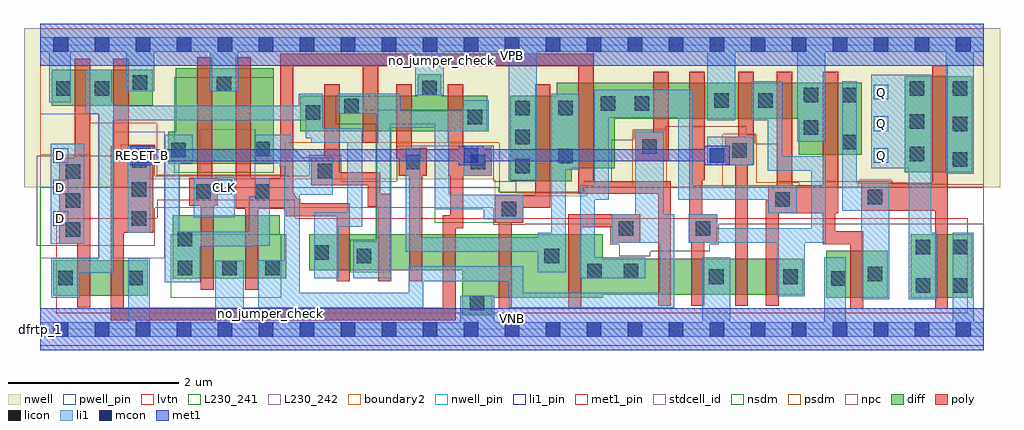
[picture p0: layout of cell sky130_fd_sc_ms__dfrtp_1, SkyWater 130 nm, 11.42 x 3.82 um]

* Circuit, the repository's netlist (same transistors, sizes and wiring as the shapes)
* Copyright 2020 The SkyWater PDK Authors
*
* Licensed under the Apache License, Version 2.0 (the "License");
* you may not use this file except in compliance with the License.
* You may obtain a copy of the License at
*
*     https://www.apache.org/licenses/LICENSE-2.0
*
* Unless required by applicable law or agreed to in writing, software
* distributed under the License is distributed on an "AS IS" BASIS,
* WITHOUT WARRANTIES OR CONDITIONS OF ANY KIND, either express or implied.
* See the License for the specific language governing permissions and
* limitations under the License.
*
* SPDX-License-Identifier: Apache-2.0

.SUBCKT sky130_fd_sc_ms__dfrtp_1 CLK D RESET_B VGND VNB VPB VPWR Q
*.PININFO CLK:I D:I RESET_B:I VGND:I VNB:I VPB:I VPWR:I Q:O
MI46 clkpos clkneg VGND VNB sky130_fd_pr__nfet_01v8_lvt m=1 w=0.74U l=0.15U mult=1
+ sa=0.265 sb=0.265 sd=0.28 area=0.063 perim=1.14
MI42 db clkneg M0 VNB sky130_fd_pr__nfet_01v8_lvt m=1 w=0.42U l=0.15U mult=1 sa=0.265
+ sb=0.265 sd=0.28 area=0.063 perim=1.14
MI656 net108 s0 net74 VNB sky130_fd_pr__nfet_01v8_lvt m=1 w=0.42U l=0.15U mult=1
+ sa=0.265 sb=0.265 sd=0.28 area=0.063 perim=1.14
MI657 net74 RESET_B VGND VNB sky130_fd_pr__nfet_01v8_lvt m=1 w=0.42U l=0.15U mult=1
+ sa=0.265 sb=0.265 sd=0.28 area=0.063 perim=1.14
MI33 net83 RESET_B VGND VNB sky130_fd_pr__nfet_01v8_lvt m=1 w=0.42U l=0.15U mult=1
+ sa=0.265 sb=0.265 sd=0.28 area=0.063 perim=1.14
MI4 M0 clkpos net91 VNB sky130_fd_pr__nfet_01v8_lvt m=1 w=0.42U l=0.15U mult=1
+ sa=0.265 sb=0.265 sd=0.28 area=0.063 perim=1.14
MI34 net91 M1 net83 VNB sky130_fd_pr__nfet_01v8_lvt m=1 w=0.42U l=0.15U mult=1
+ sa=0.265 sb=0.265 sd=0.28 area=0.063 perim=1.14
MI655 s0 clkneg net107 VNB sky130_fd_pr__nfet_01v8_lvt m=1 w=0.42U l=0.15U mult=1
+ sa=0.265 sb=0.265 sd=0.28 area=0.063 perim=1.14
MI652 net167 s0 VGND VNB sky130_fd_pr__nfet_01v8_lvt m=1 w=0.55U l=0.15U mult=1
+ sa=0.265 sb=0.265 sd=0.28 area=0.063 perim=1.14
MI653 Q net167 VGND VNB sky130_fd_pr__nfet_01v8_lvt m=1 w=0.74U l=0.15U mult=1
+ sa=0.265 sb=0.265 sd=0.28 area=0.063 perim=1.14
MI654 net107 net108 VGND VNB sky130_fd_pr__nfet_01v8_lvt m=1 w=0.42U l=0.15U mult=1
+ sa=0.265 sb=0.265 sd=0.28 area=0.063 perim=1.14
MI44 clkneg CLK VGND VNB sky130_fd_pr__nfet_01v8_lvt m=1 w=0.74U l=0.15U mult=1
+ sa=0.265 sb=0.265 sd=0.28 area=0.063 perim=1.14
MI647 M1 M0 VGND VNB sky130_fd_pr__nfet_01v8_lvt m=1 w=0.74U l=0.15U mult=1 sa=0.265
+ sb=0.265 sd=0.28 area=0.063 perim=1.14
MI39 db D net123 VNB sky130_fd_pr__nfet_01v8_lvt m=1 w=0.42U l=0.15U mult=1 sa=0.265
+ sb=0.265 sd=0.28 area=0.063 perim=1.14
MI38 net123 RESET_B VGND VNB sky130_fd_pr__nfet_01v8_lvt m=1 w=0.42U l=0.15U mult=1
+ sa=0.265 sb=0.265 sd=0.28 area=0.063 perim=1.14
MI649 M1 clkpos s0 VNB sky130_fd_pr__nfet_01v8_lvt m=1 w=0.74U l=0.15U mult=1 sa=0.265
+ sb=0.265 sd=0.28 area=0.063 perim=1.14
MI47 clkpos clkneg VPWR VPB sky130_fd_pr__pfet_01v8 m=1 w=1.12U l=0.18U mult=1
+ sa=0.265 sb=0.265 sd=0.28 area=0.063 perim=1.14
MI43 db clkpos M0 VPB sky130_fd_pr__pfet_01v8 m=1 w=0.42U l=0.18U mult=1 sa=0.265
+ sb=0.265 sd=0.28 area=0.063 perim=1.14
MI662 net146 net108 VPWR VPB sky130_fd_pr__pfet_01v8 m=1 w=0.42U l=0.18U mult=1
+ sa=0.265 sb=0.265 sd=0.28 area=0.063 perim=1.14
MI659 net108 RESET_B VPWR VPB sky130_fd_pr__pfet_01v8 m=1 w=0.42U l=0.18U mult=1
+ sa=0.265 sb=0.265 sd=0.28 area=0.063 perim=1.14
MI664 s0 clkpos net146 VPB sky130_fd_pr__pfet_01v8 m=1 w=0.42U l=0.18U mult=1 sa=0.265
+ sb=0.265 sd=0.28 area=0.063 perim=1.14
MI658 net108 s0 VPWR VPB sky130_fd_pr__pfet_01v8 m=1 w=0.42U l=0.18U mult=1 sa=0.265
+ sb=0.265 sd=0.28 area=0.063 perim=1.14
MI30 net158 M1 VPWR VPB sky130_fd_pr__pfet_01v8 m=1 w=0.42U l=0.18U mult=1 sa=0.265
+ sb=0.265 sd=0.28 area=0.063 perim=1.14
MI31 M0 clkneg net158 VPB sky130_fd_pr__pfet_01v8 m=1 w=0.42U l=0.18U mult=1 sa=0.265
+ sb=0.265 sd=0.28 area=0.063 perim=1.14
MI32 M0 RESET_B VPWR VPB sky130_fd_pr__pfet_01v8 m=1 w=0.42U l=0.18U mult=1 sa=0.265
+ sb=0.265 sd=0.28 area=0.063 perim=1.14
MI663 net167 s0 VPWR VPB sky130_fd_pr__pfet_01v8 m=1 w=0.84U l=0.18U mult=1 sa=0.265
+ sb=0.265 sd=0.28 area=0.063 perim=1.14
MI660 Q net167 VPWR VPB sky130_fd_pr__pfet_01v8 m=1 w=1.12U l=0.18U mult=1 sa=0.265
+ sb=0.265 sd=0.28 area=0.063 perim=1.14
MI45 clkneg CLK VPWR VPB sky130_fd_pr__pfet_01v8 m=1 w=1.12U l=0.18U mult=1 sa=0.265
+ sb=0.265 sd=0.28 area=0.063 perim=1.14
MI648 M1 M0 VPWR VPB sky130_fd_pr__pfet_01v8 m=1 w=1.0U l=0.18U mult=1 sa=0.265
+ sb=0.265 sd=0.28 area=0.063 perim=1.14
MI41 db RESET_B VPWR VPB sky130_fd_pr__pfet_01v8 m=1 w=0.42U l=0.18U mult=1 sa=0.265
+ sb=0.265 sd=0.28 area=0.063 perim=1.14
MI40 db D VPWR VPB sky130_fd_pr__pfet_01v8 m=1 w=0.42U l=0.18U mult=1 sa=0.265
+ sb=0.265 sd=0.28 area=0.063 perim=1.14
MI650 M1 clkneg s0 VPB sky130_fd_pr__pfet_01v8 m=1 w=1.0U l=0.18U mult=1 sa=0.265
+ sb=0.265 sd=0.28 area=0.063 perim=1.14
.ENDS sky130_fd_sc_ms__dfrtp_1

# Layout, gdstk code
import gdstk
lib = gdstk.Library(unit=1e-6, precision=1e-09)
def R(c, l, rs):  # rectangles x0, y0, x1, y1
    for r in rs: c.add(gdstk.rectangle(r[:2], r[2:], *l))
def A(c, l, x, y, w, h, nx, ny, dx, dy):  # array of equal rectangles
    R(c, l, [(x+i*dx, y+j*dy, x+i*dx+w, y+j*dy+h) for i in range(nx) for j in range(ny)])
def P(c, l, *ps):  # polygons
    for p in ps: c.add(gdstk.Polygon(p, *l))
nwell_pin = (64, 16)
nwell = (64, 20)
diff = (65, 20)
poly = (66, 20)
licon = (66, 44)
li1_pin = (67, 16)
li1 = (67, 20)
mcon = (67, 44)
met1_pin = (68, 16)
met1 = (68, 20)
stdcell_id = (81, 4)
nsdm = (93, 44)
psdm = (94, 20)
npc = (95, 20)
pwell_pin = (122, 16)
lvtn = (125, 44)
L230_241 = (230, 241)
L230_242 = (230, 242)
boundary2 = (236, 0)

sky130_fd_sc_ms__dfrtp_1 = lib.new_cell('sky130_fd_sc_ms__dfrtp_1')
R(sky130_fd_sc_ms__dfrtp_1, nwell_pin, [(0,3.085,11.04,3.33)])
P(sky130_fd_sc_ms__dfrtp_1, nwell, [(11.23,3.52),(-0.19,3.52),(-0.19,1.66),(1.15,1.66),(1.15,1.755),(5.32,1.755),(5.32,1.555),(6.4,1.555),(6.4,1.66),(11.23,1.66)])
R(sky130_fd_sc_ms__dfrtp_1, diff, [(9.195,0.37,9.915,0.92), (10.185,0.37,10.905,1.11), (0.15,0.39,1.26,0.81), (10.115,1.84,10.905,2.96), (0.135,2.615,1.315,3.035)])
P(sky130_fd_sc_ms__dfrtp_1, diff, [(5.23,2.735),(4.695,2.735),(4.695,2.985),(4.42,2.985),(4.42,2.735),(3.045,2.735),(3.045,2.315),(5.23,2.315)],
  [(2.88,1.11),(2.8,1.11),(2.8,1.335),(1.55,1.335),(1.55,0.59),(1.805,0.59),(1.805,0.595),(2.105,0.595),(2.105,0.59),(2.325,0.59),(2.325,0.595),(2.88,0.595)],
  [(8.925,0.825),(6.58,0.825),(6.58,1.11),(3.15,1.11),(3.15,0.69),(4.935,0.69),(4.935,0.165),(5.29,0.165),(5.29,0.37),(6.58,0.37),(6.58,0.405),(8.925,0.405)],
  [(9.615,2.885),(6.045,2.885),(6.045,2.735),(5.5,2.735),(5.5,1.735),(6.22,1.735),(6.22,1.885),(6.725,1.885),(6.725,2.465),(8.875,2.465),(8.875,2.045),(9.615,2.045)],
  [(2.735,3.055),(1.585,3.055),(1.585,2.31),(1.495,2.31),(1.495,1.935),(2.735,1.935)])
P(sky130_fd_sc_ms__dfrtp_1, poly, [(0.585,3.165),(0.405,3.165),(0.405,2.01),(0.22,2.01),(0.22,1),(0.435,1),(0.435,0.26),(0.585,0.26)],
  [(10.62,3.09),(10.44,3.09),(10.44,1.715),(9.605,1.715),(9.605,1.385),(10.47,1.385),(10.47,0.24),(10.62,0.24)],
  [(2.075,1.775),(2.015,1.775),(2.015,3.185),(1.835,3.185),(1.835,1.775),(1.745,1.775),(1.745,1.445),(1.88,1.445),(1.88,0.465),(2.03,0.465),(2.03,1.445),(2.075,1.445)],
  [(7.92,1.345),(7.745,1.345),(7.745,1.745),(7.775,1.745),(7.775,3.015),(7.595,3.015),(7.595,1.345),(7.59,1.345),(7.59,1.015),(7.62,1.015),(7.62,0.275),(7.77,0.275),(7.77,1.015),(7.92,1.015)],
  [(7.38,1.735),(6.475,1.735),(6.475,3.225),(2.81,3.225),(2.81,1.775),(2.465,1.775),(2.465,3.185),(2.285,3.185),(2.285,1.41),(2.4,1.41),(2.4,0.465),(2.55,0.465),(2.55,1.41),(2.855,1.41),(2.855,1.39),(2.875,1.39),(2.875,1.325),(3.47,1.325),(3.47,0.56),(3.62,0.56),(3.62,1.475),(3.04,1.475),(3.04,1.52),(3.02,1.52),(3.02,1.535),(2.995,1.535),(2.995,1.565),(2.98,1.565),(2.98,1.59),(2.96,1.59),(2.96,3.075),(3.775,3.075),(3.775,2.185),(3.955,2.185),(3.955,3.075),(6.295,3.075),(6.295,1.585),(7.23,1.585),(7.23,0.275),(7.38,0.275)],
  [(7.355,3.015),(7.175,3.015),(7.175,2.305),(6.965,2.305),(6.965,1.975),(7.355,1.975)],
  [(8.35,3.015),(8.17,3.015),(8.17,2.255),(8.015,2.255),(8.015,1.925),(8.13,1.925),(8.13,0.275),(8.28,0.275),(8.28,1.925),(8.35,1.925)],
  [(9.63,1.145),(9.305,1.145),(9.305,1.355),(9.335,1.355),(9.335,3.015),(9.155,3.015),(9.155,1.685),(8.8,1.685),(8.8,3.015),(8.62,3.015),(8.62,1.685),(8.52,1.685),(8.52,1.505),(8.49,1.505),(8.49,0.275),(8.64,0.275),(8.64,1.355),(9.155,1.355),(9.155,0.995),(9.48,0.995),(9.48,0.24),(9.63,0.24)],
  [(4.105,1.585),(3.98,1.585),(3.98,1.835),(3.505,1.835),(3.505,2.865),(3.325,2.865),(3.325,2.015),(3.17,2.015),(3.17,1.685),(3.83,1.685),(3.83,1.435),(3.955,1.435),(3.955,0.56),(4.105,0.56)],
  [(7.02,1.345),(6.18,1.345),(6.18,0.24),(6.33,0.24),(6.33,1.195),(6.69,1.195),(6.69,1.015),(7.02,1.015)],
  [(4.525,2.125),(4.345,2.125),(4.345,2.865),(4.165,2.865),(4.165,2),(4.195,2),(4.195,1.795),(4.32,1.795),(4.32,0.56),(4.47,0.56),(4.47,1.795),(4.525,1.795)],
  [(5.285,2.125),(4.95,2.125),(4.95,2.865),(4.77,2.865),(4.77,2.185),(4.775,2.185),(4.775,1.795),(4.8,1.795),(4.8,1.335),(4.71,1.335),(4.71,0.255),(0.975,0.255),(0.975,1.13),(1.32,1.13),(1.32,2.14),(1.035,2.14),(1.035,3.165),(0.855,3.165),(0.855,2.14),(0.825,2.14),(0.825,0.105),(4.86,0.105),(4.86,1.185),(4.95,1.185),(4.95,1.795),(5.285,1.795)],
  [(5.97,2.865),(5.79,2.865),(5.79,1.575),(5.32,1.575),(5.32,1.245),(5.365,1.245),(5.365,0.24),(5.515,0.24),(5.515,1.245),(5.65,1.245),(5.65,1.425),(5.97,1.425)])
A(sky130_fd_sc_ms__dfrtp_1, licon, 0.3, 1.08, 0.17, 0.17, 1, 3, 0, 0.34)
A(sky130_fd_sc_ms__dfrtp_1, licon, 1.07, 1.21, 0.17, 0.17, 1, 3, 0, 0.34)
A(sky130_fd_sc_ms__dfrtp_1, licon, 5.56, 1.825, 0.17, 0.17, 1, 3, 0, 0.34)
A(sky130_fd_sc_ms__dfrtp_1, licon, 10.675, 1.9, 0.17, 0.17, 1, 3, 0, 0.415)
R(sky130_fd_sc_ms__dfrtp_1, licon, [(5.025,0.225,5.195,0.395), (10.245,0.43,10.415,0.6), (10.675,0.43,10.845,0.6), (9.255,0.51,9.425,0.68), (0.21,0.515,0.38,0.685), (1.03,0.515,1.2,0.685), (7.825,0.53,7.995,0.7), (8.695,0.53,8.865,0.7), (9.685,0.56,9.855,0.73), (6.4,0.595,6.57,0.765), (6.83,0.595,7,0.765), (1.61,0.63,1.78,0.8), (2.13,0.63,2.3,0.8), (2.63,0.635,2.8,0.805), (5.9,0.77,6.07,0.94), (3.705,0.775,3.875,0.945), (3.205,0.815,3.375,0.985), (10.245,0.88,10.415,1.05), (10.675,0.88,10.845,1.05), (1.61,0.97,1.78,1.14), (6.77,1.095,6.94,1.265), (7.67,1.095,7.84,1.265), (5.4,1.325,5.57,1.495), (8.6,1.435,8.77,1.605), (9.685,1.465,9.855,1.635), (1.825,1.525,1.995,1.695), (2.515,1.525,2.685,1.695), (3.25,1.765,3.42,1.935), (4.275,1.875,4.445,2.045), (5.035,1.875,5.205,2.045), (6.06,1.945,6.23,2.115), (10.175,1.965,10.345,2.135), (8.095,2.005,8.265,2.175), (1.535,2.015,1.705,2.185), (2.515,2.025,2.685,2.195), (7.045,2.055,7.215,2.225), (9.385,2.105,9.555,2.275), (8.935,2.275,9.105,2.445), (10.175,2.345,10.345,2.515), (5,2.4,5.17,2.57), (3.105,2.45,3.275,2.62), (6.06,2.505,6.23,2.675), (3.555,2.525,3.725,2.695), (6.56,2.555,6.73,2.725), (6.955,2.555,7.125,2.725), (7.885,2.59,8.055,2.76), (8.4,2.59,8.57,2.76), (8.935,2.655,9.105,2.825), (9.385,2.655,9.555,2.825), (10.175,2.73,10.345,2.9), (0.185,2.735,0.355,2.905), (0.635,2.735,0.805,2.905), (4.47,2.74,4.64,2.91), (2.065,2.785,2.235,2.955), (1.085,2.805,1.255,2.975)])
A(sky130_fd_sc_ms__dfrtp_1, li1_pin, 0.155, 1.21, 0.17, 0.17, 1, 3, 0, 0.37)
A(sky130_fd_sc_ms__dfrtp_1, li1_pin, 9.755, 1.95, 0.17, 0.17, 1, 3, 0, 0.37)
R(sky130_fd_sc_ms__dfrtp_1, li1_pin, [(2.075,1.58,2.245,1.75)])
R(sky130_fd_sc_ms__dfrtp_1, li1, [(0.125,1,0.515,2.17), (1.025,1.13,1.285,2.14), (4.955,1.795,5.285,2.15), (7.805,1.92,8.345,2.255)])
P(sky130_fd_sc_ms__dfrtp_1, li1, [(2.685,1.775),(2.515,1.775),(2.515,1.55),(2.445,1.55),(2.445,1.14),(1.625,1.14),(1.625,1.945),(1.785,1.945),(1.785,2.275),(1.455,2.275),(1.455,0.55),(1.87,0.55),(1.87,0.97),(2.5,0.97),(2.5,0.975),(2.685,0.975)],
  [(3.765,2.355),(3.305,2.355),(3.305,2.755),(3.025,2.755),(3.025,2.615),(0.885,2.615),(0.885,2.625),(0.865,2.625),(0.865,2.65),(0.835,2.65),(0.835,3.035),(0.525,3.035),(0.525,2.52),(0.685,2.52),(0.685,0.83),(0.13,0.83),(0.13,0.37),(0.46,0.37),(0.46,0.66),(0.855,0.66),(0.855,2.445),(3.105,2.445),(3.105,2.235),(3.17,2.235),(3.17,2.185),(3.595,2.185),(3.595,1.37),(3.205,1.37),(3.205,0.595),(3.495,0.595),(3.495,1.2),(3.765,1.2)],
  [(2.275,1.78),(2.045,1.78),(2.045,1.775),(1.795,1.775),(1.795,1.31),(2.275,1.31)],
  [(6.31,2.755),(5.98,2.755),(5.98,1.13),(5.82,1.13),(5.82,1.075),(4.445,1.075),(4.445,2.125),(4.275,2.125),(4.275,0.905),(5.82,0.905),(5.82,0.665),(6.15,0.665),(6.15,1.865),(6.31,1.865)],
  [(9.935,1.715),(9.555,1.715),(9.555,2.905),(9.385,2.905),(9.385,1.385),(9.605,1.385),(9.605,0.35),(9.935,0.35)],
  [(11.04,0.085),(10.925,0.085),(10.925,1.13),(10.675,1.13),(10.675,0.085),(9.425,0.085),(9.425,0.845),(9.175,0.845),(9.175,0.085),(8.075,0.085),(8.075,0.845),(7.745,0.845),(7.745,0.085),(5.31,0.085),(5.31,0.395),(4.915,0.395),(4.915,0.085),(2.38,0.085),(2.38,0.8),(2.05,0.8),(2.05,0.085),(1.28,0.085),(1.28,0.83),(1.03,0.83),(1.03,0.085),(0,0.085),(0,-0.085),(11.04,-0.085)],
  [(9.19,2.025),(8.685,2.025),(8.685,2.905),(8.32,2.905),(8.32,2.445),(8.515,2.445),(8.515,1.855),(9.02,1.855),(9.02,1.185),(7.92,1.185),(7.92,1.345),(7.59,1.345),(7.59,1.015),(8.615,1.015),(8.615,0.385),(8.945,0.385),(8.945,1.015),(9.19,1.015)],
  [(7.42,1.345),(7.295,1.345),(7.295,2.305),(6.965,2.305),(6.965,1.345),(6.69,1.345),(6.69,1.015),(7.25,1.015),(7.25,0.425),(5.65,0.425),(5.65,0.735),(4.31,0.735),(4.31,0.425),(3.035,0.425),(3.035,1.575),(3.425,1.575),(3.425,2.015),(3.05,2.015),(3.05,2.035),(3.03,2.035),(3.03,2.06),(3.015,2.06),(3.015,2.09),(2.98,2.09),(2.98,2.11),(2.96,2.11),(2.96,2.13),(2.935,2.13),(2.935,2.275),(2.515,2.275),(2.515,1.945),(2.805,1.945),(2.805,1.9),(2.855,1.9),(2.855,0.805),(2.55,0.805),(2.55,0.255),(4.48,0.255),(4.48,0.565),(5.48,0.565),(5.48,0.255),(7.42,0.255)],
  [(5.65,1.575),(4.785,1.575),(4.785,2.32),(5.25,2.32),(5.25,2.68),(4.95,2.68),(4.95,2.56),(4.215,2.56),(4.215,2.755),(3.475,2.755),(3.475,2.525),(3.935,2.525),(3.935,1.03),(3.665,1.03),(3.665,0.595),(4.105,0.595),(4.105,2.36),(4.615,2.36),(4.615,1.405),(5.19,1.405),(5.19,1.285),(5.65,1.285)],
  [(8.85,1.685),(7.635,1.685),(7.635,2.805),(6.48,2.805),(6.48,1.685),(6.32,1.685),(6.32,0.595),(7.08,0.595),(7.08,0.845),(6.49,0.845),(6.49,1.515),(6.65,1.515),(6.65,2.475),(7.465,2.475),(7.465,1.515),(8.52,1.515),(8.52,1.355),(8.85,1.355)],
  [(10.495,1.13),(10.425,1.13),(10.425,2.98),(9.725,2.98),(9.725,1.885),(10.165,1.885),(10.165,0.35),(10.495,0.35)],
  [(11.04,3.415),(0,3.415),(0,3.245),(0.105,3.245),(0.105,2.655),(0.355,2.655),(0.355,3.245),(1.005,3.245),(1.005,2.785),(1.335,2.785),(1.335,3.245),(1.985,3.245),(1.985,2.785),(2.315,2.785),(2.315,3.245),(4.39,3.245),(4.39,2.74),(4.72,2.74),(4.72,3.245),(5.48,3.245),(5.48,1.745),(5.81,1.745),(5.81,3.245),(7.805,3.245),(7.805,2.445),(8.135,2.445),(8.135,3.245),(8.855,3.245),(8.855,2.195),(9.185,2.195),(9.185,3.245),(10.595,3.245),(10.595,1.82),(10.925,1.82),(10.925,3.245),(11.04,3.245)])
A(sky130_fd_sc_ms__dfrtp_1, mcon, 0.155, -0.085, 0.17, 0.17, 23, 2, 0.48, 3.33)
R(sky130_fd_sc_ms__dfrtp_1, mcon, [(1.115,1.95,1.285,2.12), (4.955,1.95,5.125,2.12), (7.835,1.95,8.005,2.12)])
R(sky130_fd_sc_ms__dfrtp_1, met1_pin, [(0,0,11.04,0.245), (1.115,1.95,1.285,2.12), (0,3.085,11.04,3.33)])
R(sky130_fd_sc_ms__dfrtp_1, met1, [(0,-0.245,11.04,0.245), (0,3.085,11.04,3.575)])
P(sky130_fd_sc_ms__dfrtp_1, met1, [(8.065,2.15),(7.775,2.15),(7.775,2.105),(5.185,2.105),(5.185,2.15),(4.895,2.15),(4.895,2.105),(1.345,2.105),(1.345,2.15),(1.055,2.15),(1.055,1.92),(1.345,1.92),(1.345,1.965),(4.895,1.965),(4.895,1.92),(5.185,1.92),(5.185,1.965),(7.775,1.965),(7.775,1.92),(8.065,1.92)])
R(sky130_fd_sc_ms__dfrtp_1, stdcell_id, [(0,0,11.04,3.33)])
P(sky130_fd_sc_ms__dfrtp_1, nsdm, [(11.04,1.66),(6.35,1.66),(6.35,1.605),(5.37,1.605),(5.37,1.66),(0,1.66),(0,-0.19),(11.04,-0.19)])
P(sky130_fd_sc_ms__dfrtp_1, psdm, [(11.04,3.52),(0,3.52),(0,2.04),(0.58,2.04),(0.58,2.41),(1.365,2.41),(1.365,1.805),(2.875,1.805),(2.875,2.185),(5.37,2.185),(5.37,1.605),(6.35,1.605),(6.35,1.66),(6.935,1.66),(6.935,2.335),(7.325,2.335),(7.325,1.66),(7.985,1.66),(7.985,2.285),(8.375,2.285),(8.375,1.715),(8.88,1.715),(8.88,1.66),(9.575,1.66),(9.575,1.745),(9.965,1.745),(9.965,1.66),(11.04,1.66)])
P(sky130_fd_sc_ms__dfrtp_1, npc, [(11.04,1.7),(9.975,1.7),(9.975,1.73),(9.955,1.73),(9.955,1.735),(9.585,1.735),(9.585,1.73),(8.63,1.73),(8.63,2.17),(8.365,2.17),(8.365,2.275),(8.26,2.275),(8.26,2.375),(7.315,2.375),(7.315,2.325),(6.945,2.325),(6.945,2.22),(6.68,2.22),(6.68,1.73),(6.36,1.73),(6.36,1.595),(5.57,1.595),(5.57,1.735),(5.305,1.735),(5.305,2.145),(4.17,2.145),(4.17,1.73),(3.52,1.73),(3.52,2.035),(3.15,2.035),(3.15,1.795),(1.34,1.795),(1.34,2.16),(0.94,2.16),(0.94,2.03),(-0.04,2.03),(-0.04,0.98),(1.34,0.98),(1.34,1.425),(5.3,1.425),(5.3,1.225),(5.67,1.225),(5.67,1.23),(6.67,1.23),(6.67,0.995),(6.775,0.995),(6.775,0.855),(7.14,0.855),(7.14,0.915),(7.835,0.915),(7.835,0.995),(7.94,0.995),(7.94,1.23),(11.04,1.23)])
R(sky130_fd_sc_ms__dfrtp_1, pwell_pin, [(0,0,11.04,0.245)])
P(sky130_fd_sc_ms__dfrtp_1, lvtn, [(10.85,1.3),(2.98,1.3),(2.98,1.515),(1.37,1.515),(1.37,1.3),(0.19,1.3),(0.19,0.19),(10.85,0.19)])
R(sky130_fd_sc_ms__dfrtp_1, L230_241, [(1.53,0.37,2.82,1.11), (0.125,1,0.515,2.17), (1.025,1.13,1.285,2.14), (4.955,1.795,5.285,2.15), (1.57,1.83,2.73,2.95)])
P(sky130_fd_sc_ms__dfrtp_1, L230_241, [(5.65,1.575),(4.785,1.575),(4.785,2.32),(5.25,2.32),(5.25,2.57),(3.79,2.57),(3.79,2.725),(3.46,2.725),(3.46,2.4),(3.925,2.4),(3.925,1.05),(3.625,1.05),(3.625,0.67),(4.095,0.67),(4.095,2.4),(4.615,2.4),(4.615,1.245),(5.65,1.245)],
  [(2.275,1.78),(2.045,1.78),(2.045,1.64),(1.795,1.64),(1.795,1.31),(2.275,1.31)])
R(sky130_fd_sc_ms__dfrtp_1, L230_242, [(0,0.83,0.685,2.52), (0.855,0.83,1.455,2.31)])
P(sky130_fd_sc_ms__dfrtp_1, L230_242, [(4.86,0.56),(4.71,0.56),(4.71,0.255),(0.975,0.255),(0.975,0.26),(0.825,0.26),(0.825,0.105),(4.86,0.105)],
  [(2.515,2.34),(1.865,2.34),(1.865,1.81),(1.625,1.81),(1.625,1.14),(2.445,1.14),(2.445,1.55),(2.515,1.55)])
R(sky130_fd_sc_ms__dfrtp_1, boundary2, [(0,0,11.04,3.33)])
sky130_fd_sc_ms__dfrtp_1.add(gdstk.Label('VNB', (5.52,0.123), layer=64, texttype=59))
sky130_fd_sc_ms__dfrtp_1.add(gdstk.Label('VPB', (5.52,3.208), layer=64, texttype=5))
sky130_fd_sc_ms__dfrtp_1.add(gdstk.Label('no_jumper_check', (4.7,3.15), layer=83, texttype=44))
sky130_fd_sc_ms__dfrtp_1.add(gdstk.Label('no_jumper_check', (2.7,0.18), layer=83, texttype=44))
sky130_fd_sc_ms__dfrtp_1.add(gdstk.Label('dfrtp_1', (0,0), layer=83, texttype=44))
sky130_fd_sc_ms__dfrtp_1.add(gdstk.Label('RESET_B', (1.2,2.035), layer=68, texttype=5))
sky130_fd_sc_ms__dfrtp_1.add(gdstk.Label('VPWR', (5.52,3.208), layer=68, texttype=5))
sky130_fd_sc_ms__dfrtp_1.add(gdstk.Label('VGND', (5.52,0.123), layer=68, texttype=5))
sky130_fd_sc_ms__dfrtp_1.add(gdstk.Label('Q', (9.84,2.035), layer=67, texttype=5))
sky130_fd_sc_ms__dfrtp_1.add(gdstk.Label('Q', (9.84,2.405), layer=67, texttype=5))
sky130_fd_sc_ms__dfrtp_1.add(gdstk.Label('Q', (9.84,2.775), layer=67, texttype=5))
sky130_fd_sc_ms__dfrtp_1.add(gdstk.Label('CLK', (2.16,1.665), layer=67, texttype=5))
sky130_fd_sc_ms__dfrtp_1.add(gdstk.Label('D', (0.24,1.295), layer=67, texttype=5))
sky130_fd_sc_ms__dfrtp_1.add(gdstk.Label('D', (0.24,1.665), layer=67, texttype=5))
sky130_fd_sc_ms__dfrtp_1.add(gdstk.Label('D', (0.24,2.035), layer=67, texttype=5))

lib.write_gds('sky130_fd_sc_ms__dfrtp_1.gds')
